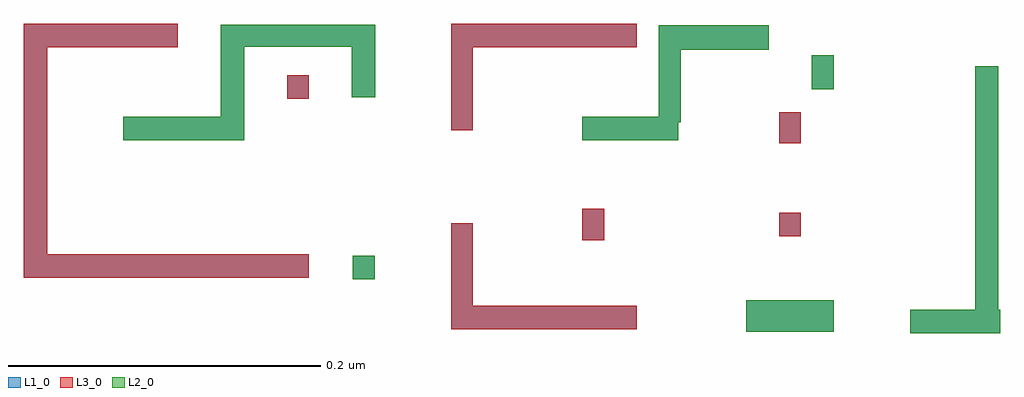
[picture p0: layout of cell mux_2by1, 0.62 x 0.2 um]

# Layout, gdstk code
import gdstk
lib = gdstk.Library(unit=1e-6, precision=5e-10)
def R(c, l, rs):  # rectangles x0, y0, x1, y1
    for r in rs: c.add(gdstk.rectangle(r[:2], r[2:], *l))
def P(c, l, *ps):  # polygons
    for p in ps: c.add(gdstk.Polygon(p, *l))
L1_0 = (1, 0)
L2_0 = (2, 0)
L3_0 = (3, 0)

inv = lib.new_cell('inv')
R(inv, L1_0, [(0.0695,0.039,0.0835,0.054), (0.0485,0.0985,0.1045,0.1135)])

nand = lib.new_cell('nand')
R(nand, L1_0, [(0.258,0.1025,0.272,0.1675), (0.153,0.1225,0.167,0.1375), (0.195,0.1235,0.209,0.1385)])

mux_2by1 = lib.new_cell('mux_2by1')
R(mux_2by1, L1_0, [(0.594,0.189,0.65,0.209), (0.405,0.1905,0.468,0.2055), (0.347,0.228,0.351,0.2315), (0.489,0.2475,0.503,0.2675), (0.6165,0.253,0.627,0.2625), (0.615,0.3095,0.629,0.3295), (0.3045,0.3435,0.309,0.3485), (0.636,0.344,0.65,0.366), (0.405,0.371,0.468,0.386)])
P(mux_2by1, L1_0, [(0.7555,0.359),(0.7555,0.203),(0.7565,0.203),(0.7565,0.188),(0.699,0.188),(0.699,0.203),(0.7405,0.203),(0.7405,0.359)],
  [(0.6085,0.385),(0.6085,0.3695),(0.552,0.3695),(0.552,0.323),(0.5505,0.323),(0.5505,0.3115),(0.489,0.3115),(0.489,0.3265),(0.538,0.3265),(0.538,0.385)],
  [(0.3565,0.3855),(0.3565,0.339),(0.3415,0.339),(0.3415,0.3715),(0.2725,0.3715),(0.2725,0.3115),(0.195,0.3115),(0.195,0.3265),(0.2575,0.3265),(0.2575,0.3855)],
  [(0.188,0.386),(0.188,0.371),(0.1465,0.371),(0.1465,0.2385),(0.314,0.2385),(0.314,0.2235),(0.1315,0.2235),(0.1315,0.386)])
R(mux_2by1, L2_0, [(0.594,0.189,0.65,0.209), (0.342,0.2225,0.356,0.2375), (0.636,0.344,0.65,0.366)])
P(mux_2by1, L2_0, [(0.7555,0.359),(0.7555,0.203),(0.7565,0.203),(0.7565,0.188),(0.699,0.188),(0.699,0.203),(0.7405,0.203),(0.7405,0.359)],
  [(0.6085,0.385),(0.6085,0.3695),(0.552,0.3695),(0.552,0.323),(0.5505,0.323),(0.5505,0.3115),(0.489,0.3115),(0.489,0.3265),(0.538,0.3265),(0.538,0.385)],
  [(0.3565,0.3855),(0.3565,0.339),(0.3415,0.339),(0.3415,0.3715),(0.2725,0.3715),(0.2725,0.3115),(0.195,0.3115),(0.195,0.3265),(0.2575,0.3265),(0.2575,0.3855)])
R(mux_2by1, L3_0, [(0.489,0.2475,0.503,0.2675), (0.615,0.25,0.629,0.265), (0.615,0.3095,0.629,0.3295), (0.3,0.338,0.314,0.353)])
P(mux_2by1, L3_0, [(0.524,0.386),(0.524,0.371),(0.419,0.371),(0.419,0.318),(0.405,0.318),(0.405,0.386)],
  [(0.419,0.2585),(0.419,0.2055),(0.524,0.2055),(0.524,0.1905),(0.405,0.1905),(0.405,0.2585)],
  [(0.23,0.386),(0.23,0.371),(0.1465,0.371),(0.1465,0.2385),(0.314,0.2385),(0.314,0.2235),(0.1315,0.2235),(0.1315,0.386)])
mux_2by1.add(gdstk.Reference(inv, (0.4195,0.304), x_reflection=True))
mux_2by1.add(gdstk.Reference(inv, (0.5455,0.304), x_reflection=True))
mux_2by1.add(gdstk.Reference(inv, (0.4195,0.2725)))
mux_2by1.add(gdstk.Reference(inv, (0.1255,0.2725)))
mux_2by1.add(gdstk.Reference(nand, (0.147,0.361), x_reflection=True))
mux_2by1.add(gdstk.Reference(nand, (0.147,0.2155)))

lib.write_gds('mux_2by1.gds')
